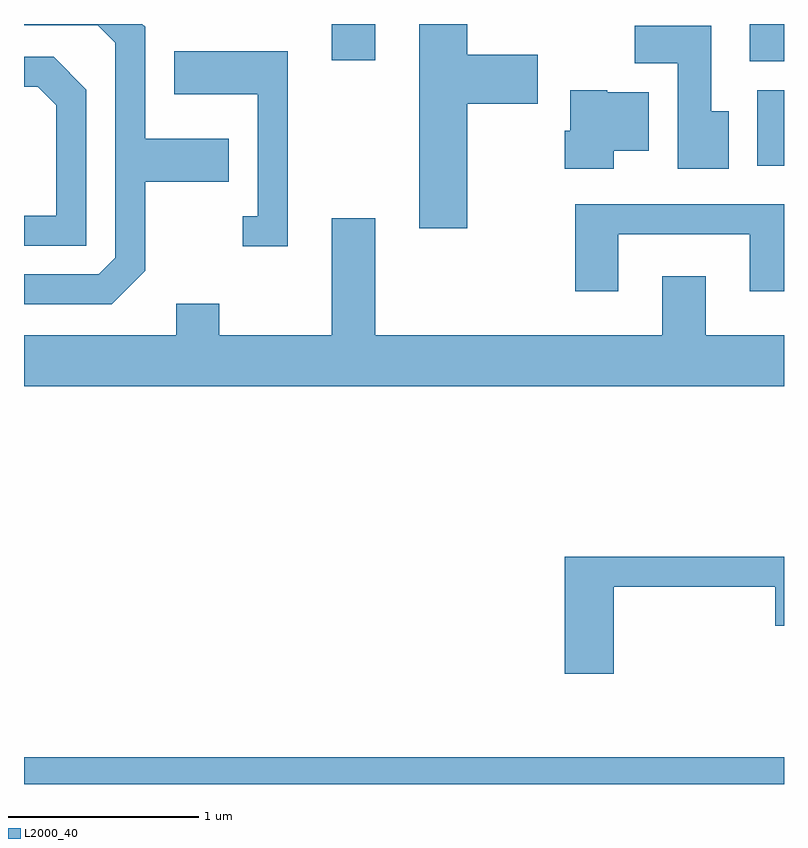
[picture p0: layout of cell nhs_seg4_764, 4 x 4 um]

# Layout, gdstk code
import gdstk
lib = gdstk.Library(unit=1e-6, precision=1e-09)
def R(c, l, rs):  # rectangles x0, y0, x1, y1
    for r in rs: c.add(gdstk.rectangle(r[:2], r[2:], *l))
def P(c, l, *ps):  # polygons
    for p in ps: c.add(gdstk.Polygon(p, *l))
L2000_40 = (2000, 40)

nhs_seg4_764 = lib.new_cell('nhs_seg4_764')
R(nhs_seg4_764, L2000_40, [(207.611,1285.982,211.611,1286.124), (211.471,1289.236,211.611,1289.634), (211.431,1289.786,211.611,1289.982), (209.231,1289.791,209.459,1289.982)])
P(nhs_seg4_764, L2000_40, [(208.249,1288.684),(208.249,1289.151),(208.689,1289.151),(208.689,1289.379),(208.249,1289.379),(208.249,1289.967),(208.234,1289.982),(207.611,1289.982),(207.611,1289.976),(207.999,1289.976),(208.091,1289.884),(208.091,1288.752),(208.004,1288.664),(207.611,1288.664),(207.611,1288.506),(208.072,1288.506)],
  [(209.944,1289.561),(210.314,1289.561),(210.314,1289.819),(209.944,1289.819),(209.944,1289.982),(209.691,1289.982),(209.691,1288.906),(209.944,1288.906)],
  [(211.319,1289.524),(211.229,1289.524),(211.229,1289.974),(210.826,1289.974),(210.826,1289.776),(211.051,1289.776),(211.051,1289.221),(211.319,1289.221)],
  [(208.999,1289.839),(208.401,1289.839),(208.401,1289.611),(208.841,1289.611),(208.841,1288.969),(208.763,1288.969),(208.763,1288.811),(208.999,1288.811)],
  [(207.939,1289.637),(207.767,1289.809),(207.611,1289.809),(207.611,1289.651),(207.684,1289.651),(207.781,1289.554),(207.781,1288.974),(207.611,1288.974),(207.611,1288.816),(207.939,1288.816)],
  [(210.714,1289.316),(210.899,1289.316),(210.899,1289.624),(210.68,1289.624),(210.68,1289.634),(210.486,1289.634),(210.486,1289.419),(210.456,1289.419),(210.456,1289.221),(210.714,1289.221)],
  [(210.739,1288.876),(211.431,1288.876),(211.431,1288.576),(211.611,1288.576),(211.611,1289.034),(210.511,1289.034),(210.511,1288.576),(210.739,1288.576)],
  [(211.611,1288.344),(211.199,1288.344),(211.199,1288.654),(210.971,1288.654),(210.971,1288.344),(209.459,1288.344),(209.459,1288.959),(209.231,1288.959),(209.231,1288.344),(208.639,1288.344),(208.639,1288.509),(208.411,1288.509),(208.411,1288.344),(207.611,1288.344),(207.611,1288.076),(211.611,1288.076)],
  [(210.714,1287.021),(211.566,1287.021),(211.566,1286.816),(211.611,1286.816),(211.611,1287.179),(210.456,1287.179),(210.456,1286.561),(210.714,1286.561)])

lib.write_gds('nhs_seg4_764.gds')
